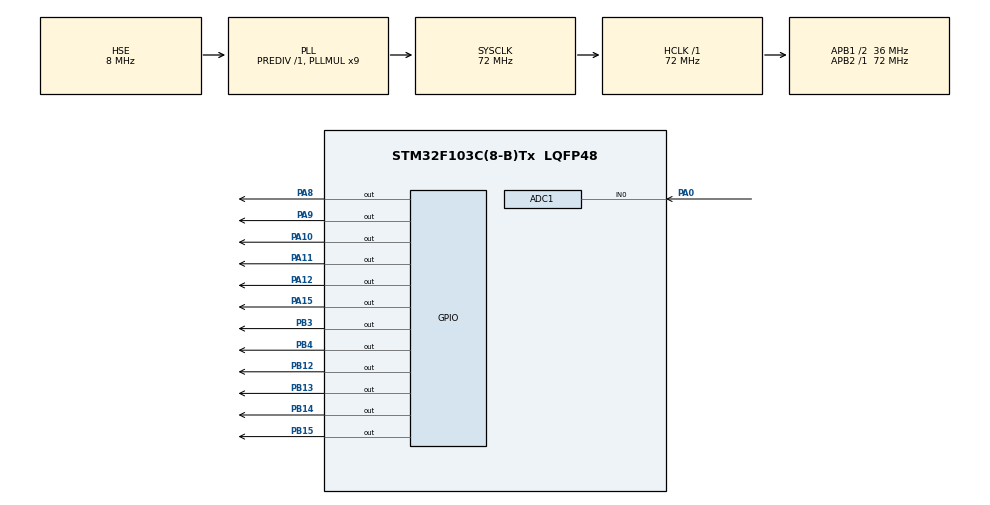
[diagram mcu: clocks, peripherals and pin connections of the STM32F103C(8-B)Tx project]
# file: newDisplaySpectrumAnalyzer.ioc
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ADC1.Channel-0\#ChannelRegularConversion=ADC_CHANNEL_0
ADC1.ExternalTrigConv=ADC_EXTERNALTRIGCONV_T3_TRGO
ADC1.NbrOfConversionFlag=1
ADC1.Rank-0\#ChannelRegularConversion=1
ADC1.SamplingTime-0\#ChannelRegularConversion=ADC_SAMPLETIME_71CYCLES_5
ADC1.master=1
Dma.ADC1.0.Direction=DMA_PERIPH_TO_MEMORY
Dma.ADC1.0.Instance=DMA1_Channel1
Dma.ADC1.0.MemDataAlignment=DMA_MDATAALIGN_HALFWORD
Dma.ADC1.0.MemInc=DMA_MINC_ENABLE
Dma.ADC1.0.Mode=DMA_CIRCULAR
Dma.ADC1.0.PeriphDataAlignment=DMA_PDATAALIGN_HALFWORD
Dma.ADC1.0.PeriphInc=DMA_PINC_DISABLE
Dma.ADC1.0.Priority=DMA_PRIORITY_LOW
Dma.Request0=ADC1
Mcu.Family=STM32F1
Mcu.Name=STM32F103C(8-B)Tx
Mcu.Package=LQFP48
NVIC.DMA1_Channel1_IRQn=true\:0\:0\:false\:false\:true\:false\:true\:true
NVIC.PriorityGroup=NVIC_PRIORITYGROUP_4
PA0-WKUP.Signal=ADCx_IN0
PA10.GPIO_Speed=GPIO_SPEED_FREQ_HIGH
PA10.Signal=GPIO_Output
PA11.GPIO_Speed=GPIO_SPEED_FREQ_HIGH
PA11.Signal=GPIO_Output
PA12.GPIO_Speed=GPIO_SPEED_FREQ_HIGH
PA12.Signal=GPIO_Output
PA13.Mode=Serial_Wire
PA13.Signal=SYS_JTMS-SWDIO
PA14.Mode=Serial_Wire
PA14.Signal=SYS_JTCK-SWCLK
PA15.GPIO_Speed=GPIO_SPEED_FREQ_HIGH
PA15.Signal=GPIO_Output
PA8.GPIO_Speed=GPIO_SPEED_FREQ_HIGH
PA8.Signal=GPIO_Output
PA9.GPIO_Speed=GPIO_SPEED_FREQ_HIGH
PA9.Signal=GPIO_Output
PB12.GPIO_Speed=GPIO_SPEED_FREQ_HIGH
PB12.Signal=GPIO_Output
PB13.GPIO_Speed=GPIO_SPEED_FREQ_HIGH
PB13.Signal=GPIO_Output
PB14.GPIO_Speed=GPIO_SPEED_FREQ_HIGH
PB14.Signal=GPIO_Output
PB15.GPIO_Speed=GPIO_SPEED_FREQ_HIGH
PB15.Signal=GPIO_Output
PB3.GPIO_Speed=GPIO_SPEED_FREQ_HIGH
PB3.Signal=GPIO_Output
PB4.GPIO_Speed=GPIO_SPEED_FREQ_HIGH
PB4.Signal=GPIO_Output
PD0-OSC_IN.Mode=HSE-External-Oscillator
PD0-OSC_IN.Signal=RCC_OSC_IN
PD1-OSC_OUT.Mode=HSE-External-Oscillator
PD1-OSC_OUT.Signal=RCC_OSC_OUT
ProjectManager.HeapSize=0x200
ProjectManager.StackSize=0x400
ProjectManager.TargetToolchain=STM32CubeIDE
RCC.ADCPresc=RCC_ADCPCLK2_DIV6
RCC.AHBFreq_Value=72000000
RCC.APB1CLKDivider=RCC_HCLK_DIV2
RCC.APB1Freq_Value=36000000
RCC.APB1TimFreq_Value=72000000
RCC.APB2Freq_Value=72000000
RCC.APB2TimFreq_Value=72000000
RCC.HCLKFreq_Value=72000000
RCC.PLLMUL=RCC_PLL_MUL9
RCC.PLLSourceVirtual=RCC_PLLSOURCE_HSE
RCC.SYSCLKFreq_VALUE=72000000
RCC.SYSCLKSource=RCC_SYSCLKSOURCE_PLLCLK
RCC.USBFreq_Value=72000000
SH.ADCx_IN0.0=ADC1_IN0,IN0
TIM3.Period=50 - 1
TIM3.Prescaler=72 - 1
TIM3.TIM_MasterOutputTrigger=TIM_TRGO_UPDATE
TIM3.TIM_MasterSlaveMode=TIM_MASTERSLAVEMODE_DISABLE
VP_TIM3_VS_ClockSourceINT.Mode=Internal
board=custom

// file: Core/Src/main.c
/* USER CODE BEGIN Header */
/**
  ******************************************************************************
  * @file           : main.c
  * @brief          : Main program body
  ******************************************************************************
  * @attention
  *
  * Copyright (c) 2026 STMicroelectronics.
  * All rights reserved.
  *
  * This software is licensed under terms that can be found in the LICENSE file
  * in the root directory of this software component.
  * If no LICENSE file comes with this software, it is provided AS-IS.
  *
  ******************************************************************************
  */
/* USER CODE END Header */
#include "main.h"

/* USER CODE BEGIN Includes */
#include "ili9341.h"
#define ARM_MATH_CM3
#include "arm_math.h"
#include "arm_const_structs.h"
#include <math.h>
#include "fonts.h"
/* USER CODE END Includes */

ADC_HandleTypeDef hadc1;
DMA_HandleTypeDef hdma_adc1;

TIM_HandleTypeDef htim3;

/* USER CODE BEGIN PV */
#define FFT_SAMPLES 512

q15_t hann_window[FFT_SAMPLES];
uint16_t adc_buffer[FFT_SAMPLES];
q15_t fft_input[FFT_SAMPLES * 2];
q15_t fft_magnitudes[FFT_SAMPLES];

// Display variables upgraded to 64 bars!
uint8_t display_bars[64] = {0};
uint8_t previous_bars[64] = {0};

volatile uint8_t fft_ready = 0;
uint8_t first_frame = 1;
/* USER CODE END PV */

void SystemClock_Config(void);
static void MX_GPIO_Init(void);
static void MX_DMA_Init(void);
static void MX_ADC1_Init(void);
static void MX_TIM3_Init(void);

int main(void)
{

  /* MCU Configuration--------------------------------------------------------*/

  /* Reset of all peripherals, Initializes the Flash interface and the Systick. */
  HAL_Init();

  /* Configure the system clock */
  SystemClock_Config();

  /* USER CODE BEGIN SysInit */
  // 1. FORCIBLY UNLOCK JTAG PINS BEFORE GPIO INIT
  __HAL_RCC_AFIO_CLK_ENABLE();
  __HAL_AFIO_REMAP_SWJ_NOJTAG();
  /* USER CODE END SysInit */

  /* Initialize all configured peripherals */
  MX_GPIO_Init();
  MX_DMA_Init();
  MX_ADC1_Init();
  MX_TIM3_Init();
  /* USER CODE BEGIN 2 */
  ILI9341_Init();
  ILI9341_FillScreen(ILI9341_BLACK);

    // Pre-calculate the Hann Window
  for (int i = 0; i < FFT_SAMPLES; i++) {
      float multiplier = 0.5f * (1.0f - cos(2.0f * 3.14159265f * i / (FFT_SAMPLES - 1)));
      hann_window[i] = (q15_t)(multiplier * 32767.0f);
  }

  HAL_ADCEx_Calibration_Start(&hadc1);
  HAL_TIM_Base_Start(&htim3);
  HAL_ADC_Start_DMA(&hadc1, (uint32_t*)adc_buffer, FFT_SAMPLES);
  /* USER CODE END 2 */

  /* Infinite loop */
  while (1)
  {

    /* USER CODE BEGIN 3 */
	  if (fft_ready == 1)
	      {
	          if (first_frame == 1)
	          {
	              ILI9341_FillScreen(ILI9341_BLACK);
	              ILI9341_FillRectangle(0, 230, 320, 1, ILI9341_WHITE);
	              ILI9341_WriteString(2,   232, "0",     Font_7x10, ILI9341_WHITE, ILI9341_BLACK);
	              ILI9341_WriteString(70,  232, "2.5k",  Font_7x10, ILI9341_WHITE, ILI9341_BLACK);
	              ILI9341_WriteString(150, 232, "5k",    Font_7x10, ILI9341_WHITE, ILI9341_BLACK);
	              ILI9341_WriteString(220, 232, "7.5k",  Font_7x10, ILI9341_WHITE, ILI9341_BLACK);
				  ILI9341_WriteString(290, 232, "10k",   Font_7x10, ILI9341_WHITE, ILI9341_BLACK);
	              first_frame = 0;
	          }
	          uint32_t dc_sum = 0;
	          for (int i = 0; i < FFT_SAMPLES; i++) dc_sum += adc_buffer[i];
	          int16_t dc_bias = dc_sum / FFT_SAMPLES;

	          for (int i = 0; i < FFT_SAMPLES; i++)
	          {
	              int16_t centered_adc = adc_buffer[i] - dc_bias;
	              q15_t gained_adc = (q15_t)(centered_adc * 8);
	              fft_input[i * 2] = (q15_t)(((int32_t)gained_adc * hann_window[i]) >> 15);
	              fft_input[(i * 2) + 1] = 0;
	          }
	          arm_cfft_q15(&arm_cfft_sR_q15_len512, fft_input, 0, 1);
	          arm_cmplx_mag_q15(fft_input, fft_magnitudes, FFT_SAMPLES);

	          int bin_index = 2; // Skip DC noise bins
	          for (int i = 0; i < 64; i++)
	          {
	              uint32_t sum = 0;
	              for (int j = 0; j < 4; j++) sum += fft_magnitudes[bin_index++];
	              uint32_t scaled_value = sum / 4;
	              if (scaled_value > 230) scaled_value = 230;
	              if (scaled_value > display_bars[i]) {
	                  display_bars[i] = scaled_value;
	              } else {
	                  if (display_bars[i] > 5) display_bars[i] -= 5; // Fall faster due to taller screen
	                  else display_bars[i] = 0;
	              }
	          }

	          // 5. Draw the 64 bars to the ILI9341
	          for (int i = 0; i < 64; i++)
	          {
	              if (display_bars[i] != previous_bars[i])
	              {
	                  uint16_t x_pos = i * 5; // 5 pixels wide per bar

	                  if (display_bars[i] > previous_bars[i])
	                  {
	                      uint8_t green_h = (display_bars[i] > 120) ? 120 : display_bars[i];
	                      ILI9341_FillRectangle(x_pos, 230 - green_h, 4, green_h, ILI9341_GREEN);

	                      if (display_bars[i] > 120)
	                      {
	                          uint8_t yellow_h = (display_bars[i] > 190) ? 70 : (display_bars[i] - 120);
	                          ILI9341_FillRectangle(x_pos, 230 - 120 - yellow_h, 4, yellow_h, ILI9341_YELLOW);
	                      }

	                      if (display_bars[i] > 190)
	                      {
	                          uint8_t red_h = display_bars[i] - 190;
	                          ILI9341_FillRectangle(x_pos, 230 - 190 - red_h, 4, red_h, ILI9341_RED);
	                      }
	                  }
	                  else
	                  {
	                      ILI9341_FillRectangle(x_pos, 230 - previous_bars[i], 4, previous_bars[i] - display_bars[i], ILI9341_BLACK);
	                  }
	                  previous_bars[i] = display_bars[i];
	              }
	          }
    fft_ready = 0;
	      }
  }
  /* USER CODE END 3 */
}

void SystemClock_Config(void)
{
  RCC_OscInitTypeDef RCC_OscInitStruct = {0};
  RCC_ClkInitTypeDef RCC_ClkInitStruct = {0};
  RCC_PeriphCLKInitTypeDef PeriphClkInit = {0};

  /** Initializes the RCC Oscillators according to the specified parameters
  * in the RCC_OscInitTypeDef structure.
  */
  RCC_OscInitStruct.OscillatorType = RCC_OSCILLATORTYPE_HSE;
  RCC_OscInitStruct.HSEState = RCC_HSE_ON;
  RCC_OscInitStruct.HSEPredivValue = RCC_HSE_PREDIV_DIV1;
  RCC_OscInitStruct.HSIState = RCC_HSI_ON;
  RCC_OscInitStruct.PLL.PLLState = RCC_PLL_ON;
  RCC_OscInitStruct.PLL.PLLSource = RCC_PLLSOURCE_HSE;
  RCC_OscInitStruct.PLL.PLLMUL = RCC_PLL_MUL9;
  if (HAL_RCC_OscConfig(&RCC_OscInitStruct) != HAL_OK)
  {
    Error_Handler();
  }

  /** Initializes the CPU, AHB and APB buses clocks
  */
  RCC_ClkInitStruct.ClockType = RCC_CLOCKTYPE_HCLK|RCC_CLOCKTYPE_SYSCLK
                              |RCC_CLOCKTYPE_PCLK1|RCC_CLOCKTYPE_PCLK2;
  RCC_ClkInitStruct.SYSCLKSource = RCC_SYSCLKSOURCE_PLLCLK;
  RCC_ClkInitStruct.AHBCLKDivider = RCC_SYSCLK_DIV1;
  RCC_ClkInitStruct.APB1CLKDivider = RCC_HCLK_DIV2;
  RCC_ClkInitStruct.APB2CLKDivider = RCC_HCLK_DIV1;

  if (HAL_RCC_ClockConfig(&RCC_ClkInitStruct, FLASH_LATENCY_2) != HAL_OK)
  {
    Error_Handler();
  }
  PeriphClkInit.PeriphClockSelection = RCC_PERIPHCLK_ADC;
  PeriphClkInit.AdcClockSelection = RCC_ADCPCLK2_DIV6;
  if (HAL_RCCEx_PeriphCLKConfig(&PeriphClkInit) != HAL_OK)
  {
    Error_Handler();
  }
}

static void MX_ADC1_Init(void)
{

  ADC_ChannelConfTypeDef sConfig = {0};

  /** Common config
  */
  hadc1.Instance = ADC1;
  hadc1.Init.ScanConvMode = ADC_SCAN_DISABLE;
  hadc1.Init.ContinuousConvMode = DISABLE;
  hadc1.Init.DiscontinuousConvMode = DISABLE;
  hadc1.Init.ExternalTrigConv = ADC_EXTERNALTRIGCONV_T3_TRGO;
  hadc1.Init.DataAlign = ADC_DATAALIGN_RIGHT;
  hadc1.Init.NbrOfConversion = 1;
  if (HAL_ADC_Init(&hadc1) != HAL_OK)
  {
    Error_Handler();
  }

  /** Configure Regular Channel
  */
  sConfig.Channel = ADC_CHANNEL_0;
  sConfig.Rank = ADC_REGULAR_RANK_1;
  sConfig.SamplingTime = ADC_SAMPLETIME_71CYCLES_5;
  if (HAL_ADC_ConfigChannel(&hadc1, &sConfig) != HAL_OK)
  {
    Error_Handler();
  }

}

static void MX_TIM3_Init(void)
{

  TIM_ClockConfigTypeDef sClockSourceConfig = {0};
  TIM_MasterConfigTypeDef sMasterConfig = {0};

  htim3.Instance = TIM3;
  htim3.Init.Prescaler = 72 - 1;
  htim3.Init.CounterMode = TIM_COUNTERMODE_UP;
  htim3.Init.Period = 50 - 1;
  htim3.Init.ClockDivision = TIM_CLOCKDIVISION_DIV1;
  htim3.Init.AutoReloadPreload = TIM_AUTORELOAD_PRELOAD_DISABLE;
  if (HAL_TIM_Base_Init(&htim3) != HAL_OK)
  {
    Error_Handler();
  }
  sClockSourceConfig.ClockSource = TIM_CLOCKSOURCE_INTERNAL;
  if (HAL_TIM_ConfigClockSource(&htim3, &sClockSourceConfig) != HAL_OK)
  {
    Error_Handler();
  }
  sMasterConfig.MasterOutputTrigger = TIM_TRGO_UPDATE;
  sMasterConfig.MasterSlaveMode = TIM_MASTERSLAVEMODE_DISABLE;
  if (HAL_TIMEx_MasterConfigSynchronization(&htim3, &sMasterConfig) != HAL_OK)
  {
    Error_Handler();
  }

}

static void MX_DMA_Init(void)
{

  /* DMA controller clock enable */
  __HAL_RCC_DMA1_CLK_ENABLE();

  /* DMA interrupt init */
  /* DMA1_Channel1_IRQn interrupt configuration */
  HAL_NVIC_SetPriority(DMA1_Channel1_IRQn, 0, 0);
  HAL_NVIC_EnableIRQ(DMA1_Channel1_IRQn);

}

static void MX_GPIO_Init(void)
{
  GPIO_InitTypeDef GPIO_InitStruct = {0};

  /* GPIO Ports Clock Enable */
  __HAL_RCC_GPIOD_CLK_ENABLE();
  __HAL_RCC_GPIOA_CLK_ENABLE();
  __HAL_RCC_GPIOB_CLK_ENABLE();

  /*Configure GPIO pin Output Level */
  HAL_GPIO_WritePin(GPIOB, GPIO_PIN_12|GPIO_PIN_13|GPIO_PIN_14|GPIO_PIN_15
                          |GPIO_PIN_3|GPIO_PIN_4, GPIO_PIN_RESET);

  /*Configure GPIO pin Output Level */
  HAL_GPIO_WritePin(GPIOA, GPIO_PIN_8|GPIO_PIN_9|GPIO_PIN_10|GPIO_PIN_11
                          |GPIO_PIN_12|GPIO_PIN_15, GPIO_PIN_RESET);

  /*Configure GPIO pins : PB12 PB13 PB14 PB15
                           PB3 PB4 */
  GPIO_InitStruct.Pin = GPIO_PIN_12|GPIO_PIN_13|GPIO_PIN_14|GPIO_PIN_15
                          |GPIO_PIN_3|GPIO_PIN_4;
  GPIO_InitStruct.Mode = GPIO_MODE_OUTPUT_PP;
  GPIO_InitStruct.Pull = GPIO_NOPULL;
  GPIO_InitStruct.Speed = GPIO_SPEED_FREQ_HIGH;
  HAL_GPIO_Init(GPIOB, &GPIO_InitStruct);

  /*Configure GPIO pins : PA8 PA9 PA10 PA11
                           PA12 PA15 */
  GPIO_InitStruct.Pin = GPIO_PIN_8|GPIO_PIN_9|GPIO_PIN_10|GPIO_PIN_11
                          |GPIO_PIN_12|GPIO_PIN_15;
  GPIO_InitStruct.Mode = GPIO_MODE_OUTPUT_PP;
  GPIO_InitStruct.Pull = GPIO_NOPULL;
  GPIO_InitStruct.Speed = GPIO_SPEED_FREQ_HIGH;
  HAL_GPIO_Init(GPIOA, &GPIO_InitStruct);

}

/* USER CODE BEGIN 4 */
// This function is automatically called by the hardware when DMA is done
void HAL_ADC_ConvCpltCallback(ADC_HandleTypeDef* hadc)
{
    if(hadc->Instance == ADC1)
    {
        fft_ready = 1; // Tell the main loop to wake up and do math
    }
}
/* USER CODE END 4 */

void Error_Handler(void)
{
  __disable_irq();
  while (1)
  {
  }
}
